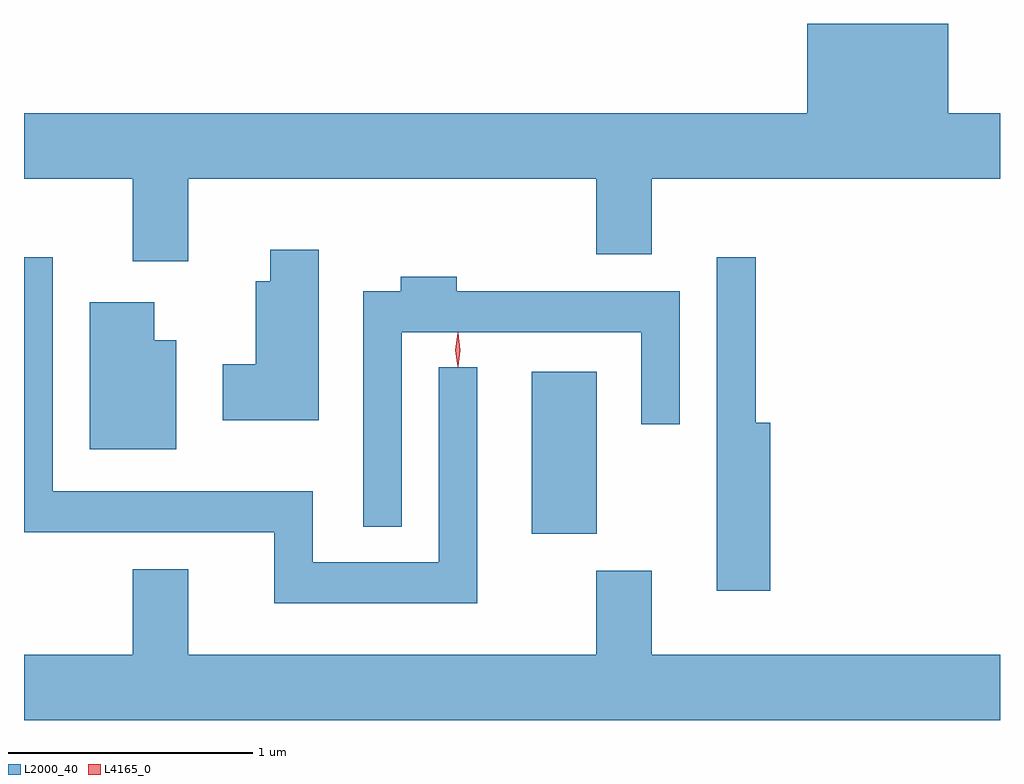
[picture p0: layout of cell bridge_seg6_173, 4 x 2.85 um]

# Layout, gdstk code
import gdstk
lib = gdstk.Library(unit=1e-6, precision=1e-09)
def R(c, l, rs):  # rectangles x0, y0, x1, y1
    for r in rs: c.add(gdstk.rectangle(r[:2], r[2:], *l))
def P(c, l, *ps):  # polygons
    for p in ps: c.add(gdstk.Polygon(p, *l))
L2000_40 = (2000, 40)
L4165_0 = (4165, 0)

bridge_seg6_173 = lib.new_cell('bridge_seg6_173')
R(bridge_seg6_173, L2000_40, [(1051.456,1568.561,1051.724,1569.224)])
P(bridge_seg6_173, L2000_40, [(1050.049,1570.016),(1051.721,1570.016),(1051.721,1569.706),(1051.949,1569.706),(1051.949,1570.016),(1053.376,1570.016),(1053.376,1570.284),(1053.164,1570.284),(1053.164,1570.65),(1052.586,1570.65),(1052.586,1570.284),(1049.376,1570.284),(1049.376,1570.016),(1049.821,1570.016),(1049.821,1569.676),(1050.049,1569.676)],
  [(1050.584,1569.724),(1050.386,1569.724),(1050.386,1569.594),(1050.326,1569.594),(1050.326,1569.254),(1050.191,1569.254),(1050.191,1569.026),(1050.584,1569.026)],
  [(1051.234,1569.243),(1051.076,1569.243),(1051.076,1568.444),(1050.559,1568.444),(1050.559,1568.734),(1049.494,1568.734),(1049.494,1569.693),(1049.376,1569.693),(1049.376,1568.566),(1050.401,1568.566),(1050.401,1568.276),(1051.234,1568.276)],
  [(1052.434,1569.014),(1052.374,1569.014),(1052.374,1569.693),(1052.216,1569.693),(1052.216,1568.326),(1052.434,1568.326)],
  [(1050.924,1569.386),(1051.906,1569.386),(1051.906,1569.008),(1052.064,1569.008),(1052.064,1569.554),(1051.149,1569.554),(1051.149,1569.614),(1050.921,1569.614),(1050.921,1569.554),(1050.766,1569.554),(1050.766,1568.588),(1050.924,1568.588)],
  [(1049.999,1569.354),(1049.909,1569.354),(1049.909,1569.509),(1049.646,1569.509),(1049.646,1568.906),(1049.999,1568.906)],
  [(1053.376,1568.064),(1051.949,1568.064),(1051.949,1568.409),(1051.721,1568.409),(1051.721,1568.064),(1050.049,1568.064),(1050.049,1568.414),(1049.821,1568.414),(1049.821,1568.064),(1049.376,1568.064),(1049.376,1567.796),(1053.376,1567.796)])
P(bridge_seg6_173, L4165_0, [(1051.154,1569.244),(1051.154,1569.244),(1051.144,1569.313),(1051.154,1569.383),(1051.154,1569.383),(1051.155,1569.383),(1051.164,1569.313),(1051.155,1569.244)])

lib.write_gds('bridge_seg6_173.gds')
